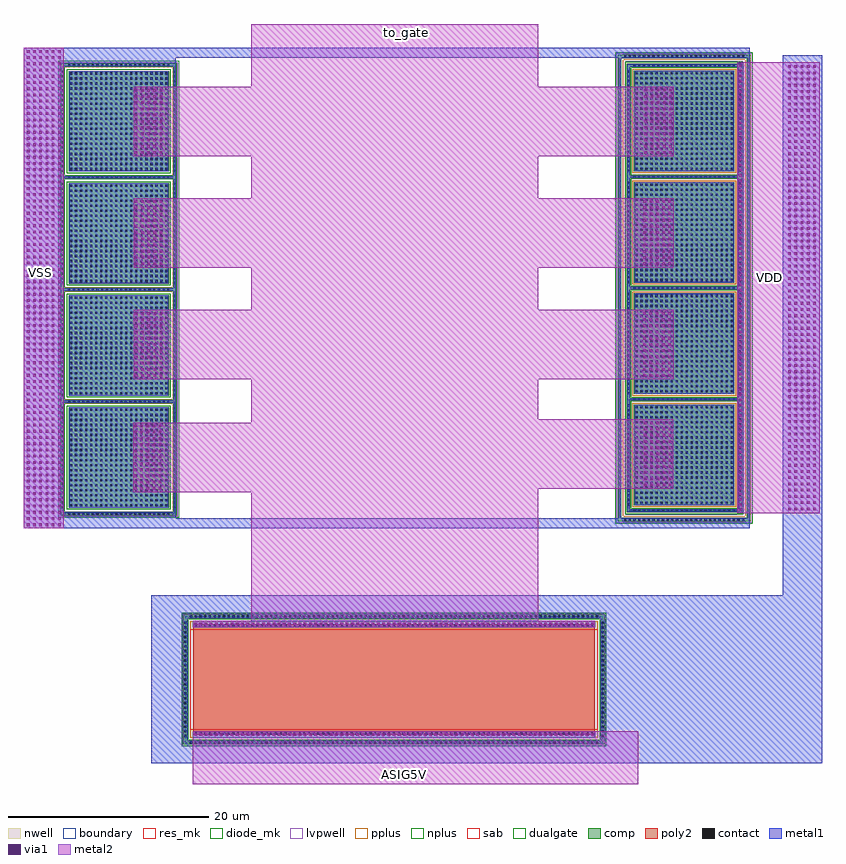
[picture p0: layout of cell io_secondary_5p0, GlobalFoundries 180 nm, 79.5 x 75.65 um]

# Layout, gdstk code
from math import pi, radians
import gdstk
lib = gdstk.Library(unit=1e-6, precision=5e-09)
def R(c, l, rs):  # rectangles x0, y0, x1, y1
    for r in rs: c.add(gdstk.rectangle(r[:2], r[2:], *l))
def A(c, l, x, y, w, h, nx, ny, dx, dy):  # array of equal rectangles
    R(c, l, [(x+i*dx, y+j*dy, x+i*dx+w, y+j*dy+h) for i in range(nx) for j in range(ny)])
boundary = (0, 0)
nwell = (21, 0)
comp = (22, 0)
poly2 = (30, 0)
pplus = (31, 0)
nplus = (32, 0)
contact = (33, 0)
metal1 = (34, 0)
via1 = (35, 0)
metal2 = (36, 0)
sab = (49, 0)
dualgate = (55, 0)
res_mk = (110, 5)
diode_mk = (115, 5)
lvpwell = (204, 0)

via_dev_2_1_1 = lib.new_cell('via_dev$2$1$1')
R(via_dev_2_1_1, metal1, [(-8.04,48.48,-4.04,96.33)])
A(via_dev_2_1_1, via1, -7.72, 48.715, 0.26, 0.26, 6, 77, 0.62, 0.62)
R(via_dev_2_1_1, metal2, [(-8.04,48.48,-4.04,96.33)])

ppolyf_u_9h3lnu_1_1 = lib.new_cell('ppolyf_u_9H3LNU$1$1')
R(ppolyf_u_9h3lnu_1_1, boundary, [(-2.87,-54.84,9.71,-13.28)])
R(ppolyf_u_9h3lnu_1_1, nwell, [(-3.17,-55.14,10.01,-12.98)])
R(ppolyf_u_9h3lnu_1_1, comp, [(-3.05,-55.02,-2.69,-13.1), (-2.69,-55.02,9.53,-54.66), (9.53,-55.02,9.89,-13.1), (-2.69,-13.46,9.53,-13.1)])
R(ppolyf_u_9h3lnu_1_1, poly2, [(-2.09,-54.06,8.93,-14.06)])
R(ppolyf_u_9h3lnu_1_1, pplus, [(-2.39,-54.36,9.23,-13.76)])
R(ppolyf_u_9h3lnu_1_1, nplus, [(-3.21,-55.18,-2.58,-12.94), (-2.58,-55.18,9.42,-54.55), (9.42,-55.18,10.05,-12.94), (-2.58,-13.57,9.42,-12.94)])
A(ppolyf_u_9h3lnu_1_1, contact, -2.33, -54.95, 0.22, 0.22, 25, 2, 0.47, 41.56)
A(ppolyf_u_9h3lnu_1_1, contact, -2.98, -54.38, 0.22, 0.22, 1, 87, 0, 0.47)
A(ppolyf_u_9h3lnu_1_1, contact, 9.6, -54.38, 0.22, 0.22, 1, 87, 0, 0.47)
A(ppolyf_u_9h3lnu_1_1, contact, -2.02, -53.91, 0.22, 0.22, 1, 85, 0, 0.47)
A(ppolyf_u_9h3lnu_1_1, contact, 8.64, -53.91, 0.22, 0.22, 1, 85, 0, 0.47)
R(ppolyf_u_9h3lnu_1_1, metal1, [(-2.985,-54.955,-2.755,-13.165), (-2.755,-54.955,9.595,-54.725), (9.595,-54.955,9.825,-13.165), (-2.025,-54.05,-1.795,-14.07), (8.635,-54.05,8.865,-14.07), (-2.755,-13.395,9.595,-13.165)])
R(ppolyf_u_9h3lnu_1_1, sab, [(-1.58,-54.34,8.42,-13.78)])
R(ppolyf_u_9h3lnu_1_1, res_mk, [(-1.58,-54.06,8.42,-14.06)])

diode_pd2nw_06v0_5dg9hc_ = lib.new_cell('diode_pd2nw_06v0_5DG9HC$1$1')
R(diode_pd2nw_06v0_5dg9hc_, boundary, [(28.24,-15.5,39.32,-4.42)])
R(diode_pd2nw_06v0_5dg9hc_, nwell, [(27.9,-15.84,39.66,29.16)])
A(diode_pd2nw_06v0_5dg9hc_, comp, 28.42, -15.68, 10.72, 0.36, 1, 5, 0, 11.08)
A(diode_pd2nw_06v0_5dg9hc_, comp, 28.78, -14.96, 10, 10, 1, 4, 0, 11.08)
R(diode_pd2nw_06v0_5dg9hc_, comp, [(27.18,-16.56,27.54,29.88), (27.54,-16.56,40.02,-16.2), (40.02,-16.56,40.38,29.88), (28.06,-15.68,28.42,29), (39.14,-15.68,39.5,29), (27.54,29.52,40.02,29.88)])
A(diode_pd2nw_06v0_5dg9hc_, pplus, 28.62, -15.12, 10.32, 10.32, 1, 4, 0, 11.08)
R(diode_pd2nw_06v0_5dg9hc_, pplus, [(27.665,-16.59,27.7,29.91), (27.7,-16.59,39.86,-16.04), (39.86,-16.59,39.895,29.91), (27.16,-16.58,27.665,29.9), (39.895,-16.58,40.4,29.9), (27.7,29.36,39.86,29.91)])
A(diode_pd2nw_06v0_5dg9hc_, nplus, 28.49, -4.63, 10.58, 0.42, 1, 3, 0, 11.08)
R(diode_pd2nw_06v0_5dg9hc_, nplus, [(27.9,-15.84,28.49,29.16), (28.49,-15.84,39.07,-15.25), (39.07,-15.84,39.66,29.16), (28.49,28.57,39.07,29.16)])
A(diode_pd2nw_06v0_5dg9hc_, contact, 27.795, -16.49, 0.22, 0.22, 26, 2, 0.47, 46.08)
A(diode_pd2nw_06v0_5dg9hc_, contact, 28.735, -15.61, 0.22, 0.22, 22, 5, 0.47, 11.08)
A(diode_pd2nw_06v0_5dg9hc_, contact, 28.13, -15.005, 0.22, 0.22, 1, 22, 0, 0.47)
A(diode_pd2nw_06v0_5dg9hc_, contact, 39.21, -15.005, 0.22, 0.22, 1, 22, 0, 0.47)
A(diode_pd2nw_06v0_5dg9hc_, contact, 28.92, -14.82, 0.22, 0.22, 20, 20, 0.5, 0.5)
A(diode_pd2nw_06v0_5dg9hc_, contact, 28.13, -3.925, 0.22, 0.22, 1, 22, 0, 0.47)
A(diode_pd2nw_06v0_5dg9hc_, contact, 39.21, -3.925, 0.22, 0.22, 1, 22, 0, 0.47)
A(diode_pd2nw_06v0_5dg9hc_, contact, 28.92, -3.74, 0.22, 0.22, 20, 20, 0.5, 0.5)
A(diode_pd2nw_06v0_5dg9hc_, contact, 28.13, 7.155, 0.22, 0.22, 1, 22, 0, 0.47)
A(diode_pd2nw_06v0_5dg9hc_, contact, 39.21, 7.155, 0.22, 0.22, 1, 22, 0, 0.47)
A(diode_pd2nw_06v0_5dg9hc_, contact, 28.92, 7.34, 0.22, 0.22, 20, 20, 0.5, 0.5)
A(diode_pd2nw_06v0_5dg9hc_, contact, 28.13, 18.235, 0.22, 0.22, 1, 22, 0, 0.47)
A(diode_pd2nw_06v0_5dg9hc_, contact, 39.21, 18.235, 0.22, 0.22, 1, 22, 0, 0.47)
A(diode_pd2nw_06v0_5dg9hc_, contact, 28.92, 18.42, 0.22, 0.22, 20, 20, 0.5, 0.5)
A(diode_pd2nw_06v0_5dg9hc_, metal1, 28.355, -15.615, 10.85, 0.23, 1, 5, 0, 11.08)
A(diode_pd2nw_06v0_5dg9hc_, metal1, 28.845, -14.95, 9.87, 9.98, 1, 4, 0, 11.08)
R(diode_pd2nw_06v0_5dg9hc_, metal1, [(27.245,-16.495,27.475,29.815), (27.475,-16.495,40.085,-16.265), (40.085,-16.495,40.315,29.815), (28.125,-15.615,28.355,28.935), (39.205,-15.615,39.435,28.935), (27.475,29.585,40.085,29.815)])
R(diode_pd2nw_06v0_5dg9hc_, dualgate, [(26.94,-16.8,40.62,30.12)])
A(diode_pd2nw_06v0_5dg9hc_, diode_mk, 28.78, -14.96, 10, 10, 1, 4, 0, 11.08)
R(diode_pd2nw_06v0_5dg9hc_, lvpwell, [(27.02,-16.72,27.9,30.04), (27.9,-16.72,39.66,-15.84), (39.66,-16.72,40.54,30.04), (27.9,29.16,39.66,30.04)])

diode_nd2ps_06v0_mv3sz3_ = lib.new_cell('diode_nd2ps_06v0_MV3SZ3$1$1')
R(diode_nd2ps_06v0_mv3sz3_, boundary, [(-28.22,40.48,-17.06,51.64)])
A(diode_nd2ps_06v0_mv3sz3_, comp, -28.04, 40.3, 10.8, 0.36, 1, 5, 0, 11.16)
A(diode_nd2ps_06v0_mv3sz3_, comp, -27.64, 41.06, 10, 10, 1, 4, 0, 11.16)
R(diode_nd2ps_06v0_mv3sz3_, comp, [(-28.4,40.3,-28.04,85.3), (-17.24,40.3,-16.88,85.3)])
A(diode_nd2ps_06v0_mv3sz3_, pplus, -28.43, 40.785, 0.01, 10.55, 1, 4, 0, 11.16)
A(diode_nd2ps_06v0_mv3sz3_, pplus, -16.86, 40.785, 0.01, 10.55, 1, 4, 0, 11.16)
A(diode_nd2ps_06v0_mv3sz3_, pplus, -28.01, 51.43, 10.74, 0.42, 1, 3, 0, 11.16)
R(diode_nd2ps_06v0_mv3sz3_, pplus, [(-27.915,40.27,-17.365,40.69), (-28.42,40.28,-28.01,85.32), (-28.01,40.28,-27.915,40.69), (-17.365,40.28,-17.27,40.69), (-17.27,40.28,-16.86,85.32), (-28.01,84.91,-27.915,85.32), (-27.915,84.91,-17.365,85.33), (-17.365,84.91,-17.27,85.32)])
A(diode_nd2ps_06v0_mv3sz3_, nplus, -27.8, 40.9, 10.32, 10.32, 1, 4, 0, 11.16)
A(diode_nd2ps_06v0_mv3sz3_, contact, -27.685, 40.37, 0.22, 0.22, 22, 5, 0.47, 11.16)
A(diode_nd2ps_06v0_mv3sz3_, contact, -28.33, 41.015, 0.22, 0.22, 1, 22, 0, 0.47)
A(diode_nd2ps_06v0_mv3sz3_, contact, -17.17, 41.015, 0.22, 0.22, 1, 22, 0, 0.47)
A(diode_nd2ps_06v0_mv3sz3_, contact, -27.5, 41.2, 0.22, 0.22, 20, 20, 0.5, 0.5)
A(diode_nd2ps_06v0_mv3sz3_, contact, -28.33, 52.175, 0.22, 0.22, 1, 22, 0, 0.47)
A(diode_nd2ps_06v0_mv3sz3_, contact, -17.17, 52.175, 0.22, 0.22, 1, 22, 0, 0.47)
A(diode_nd2ps_06v0_mv3sz3_, contact, -27.5, 52.36, 0.22, 0.22, 20, 20, 0.5, 0.5)
A(diode_nd2ps_06v0_mv3sz3_, contact, -28.33, 63.335, 0.22, 0.22, 1, 22, 0, 0.47)
A(diode_nd2ps_06v0_mv3sz3_, contact, -17.17, 63.335, 0.22, 0.22, 1, 22, 0, 0.47)
A(diode_nd2ps_06v0_mv3sz3_, contact, -27.5, 63.52, 0.22, 0.22, 20, 20, 0.5, 0.5)
A(diode_nd2ps_06v0_mv3sz3_, contact, -28.33, 74.495, 0.22, 0.22, 1, 22, 0, 0.47)
A(diode_nd2ps_06v0_mv3sz3_, contact, -17.17, 74.495, 0.22, 0.22, 1, 22, 0, 0.47)
A(diode_nd2ps_06v0_mv3sz3_, contact, -27.5, 74.68, 0.22, 0.22, 20, 20, 0.5, 0.5)
A(diode_nd2ps_06v0_mv3sz3_, metal1, -28.105, 40.365, 10.93, 0.23, 1, 5, 0, 11.16)
A(diode_nd2ps_06v0_mv3sz3_, metal1, -27.575, 41.07, 9.87, 9.98, 1, 4, 0, 11.16)
R(diode_nd2ps_06v0_mv3sz3_, metal1, [(-28.335,40.365,-28.105,85.235), (-17.175,40.365,-16.945,85.235)])
R(diode_nd2ps_06v0_mv3sz3_, dualgate, [(-28.64,40.06,-16.64,85.54)])
A(diode_nd2ps_06v0_mv3sz3_, diode_mk, -27.64, 41.06, 10, 10, 1, 4, 0, 11.16)
R(diode_nd2ps_06v0_mv3sz3_, lvpwell, [(-28.52,40.18,-16.76,85.42)])

io_secondary_5p0 = lib.new_cell('io_secondary_5p0')
R(io_secondary_5p0, metal1, [(-29,2.05,-25.35,18.8), (-25.35,2.05,15.75,4.3), (15.75,2.05,18.4,18.8), (18.4,2.05,33.85,18.8), (33.85,2.05,37.81,72.525), (-24.85,4.6,15.2,5.25), (-24.85,15.6,15.2,16.25), (-25.35,16.5,15.75,18.8), (-41.685,25.445,-37.685,73.295), (29.45,26.95,29.9,71.75), (-30.8,29.135,-27.88,35.94), (19.965,29.445,22.885,36.25), (-30.7,40.345,-27.78,47.15), (19.895,40.35,22.815,47.155), (-30.715,51.47,-27.795,58.275), (19.915,51.475,22.835,58.28), (-30.715,62.555,-27.795,69.36), (20.01,62.56,22.93,69.365), (17.745,72.2,17.8,72.295)])
A(io_secondary_5p0, via1, -24.715, 4.795, 0.26, 0.26, 77, 2, 0.52, 11)
A(io_secondary_5p0, via1, 29.545, 27.18, 0.26, 0.26, 1, 86, 0, 0.52)
A(io_secondary_5p0, via1, 34.415, 27.26, 0.26, 0.26, 5, 72, 0.62, 0.62)
A(io_secondary_5p0, via1, -30.71, 29.31, 0.26, 0.26, 5, 11, 0.62, 0.62)
A(io_secondary_5p0, via1, 20.055, 29.62, 0.26, 0.26, 5, 11, 0.62, 0.62)
A(io_secondary_5p0, via1, -30.61, 40.52, 0.26, 0.26, 5, 11, 0.62, 0.62)
A(io_secondary_5p0, via1, 19.985, 40.525, 0.26, 0.26, 5, 11, 0.62, 0.62)
A(io_secondary_5p0, via1, -30.625, 51.645, 0.26, 0.26, 5, 11, 0.62, 0.62)
A(io_secondary_5p0, via1, 20.005, 51.65, 0.26, 0.26, 5, 11, 0.62, 0.62)
A(io_secondary_5p0, via1, -30.625, 62.73, 0.26, 0.26, 5, 11, 0.62, 0.62)
A(io_secondary_5p0, via1, 20.1, 62.735, 0.26, 0.26, 5, 11, 0.62, 0.62)
A(io_secondary_5p0, metal2, -30.75, 40.3, 11.7, 6.9, 1, 3, 0, 11.1)
A(io_secondary_5p0, metal2, 9.55, 40.3, 13.45, 6.9, 1, 3, 0, 11.1)
R(io_secondary_5p0, metal2, [(-24.85,0,19.47,5.25), (-24.85,15.6,-19.05,16.25), (-19.05,15.6,9.55,75.65), (9.55,15.6,15.2,16.25), (-41.685,25.445,-37.685,73.295), (29.35,26.95,36.95,71.85), (34.21,26.95,37.56,71.85), (-30.8,29.04,-19.05,35.94), (9.55,29.4,22.95,36.3)])
io_secondary_5p0.add(gdstk.FlexPath([(-26.525,26.525),(-37.915,26.525)], 1, ends="flush", simple_path=True, layer=34, datatype=0))  # metal1
io_secondary_5p0.add(gdstk.FlexPath([(30.595,25.945),(-37.915,25.945)], 1, ends="flush", simple_path=True, layer=34, datatype=0))  # metal1
io_secondary_5p0.add(gdstk.FlexPath([(-26.525,71.935),(-37.915,71.935)], 1, ends="flush", simple_path=True, layer=34, datatype=0))  # metal1
io_secondary_5p0.add(gdstk.FlexPath([(30.595,72.795),(-37.915,72.795)], 1, ends="flush", simple_path=True, layer=34, datatype=0))  # metal1
io_secondary_5p0.add(gdstk.Reference(via_dev_2_1_1, (-33.645,-23.035)))
io_secondary_5p0.add(gdstk.Reference(ppolyf_u_9h3lnu_1_1, (29.24,13.83), rotation=3*pi/2))
io_secondary_5p0.add(gdstk.Reference(diode_pd2nw_06v0_5dg9hc_, (-9.72,42.71)))
io_secondary_5p0.add(gdstk.Reference(diode_nd2ps_06v0_mv3sz3_, (-9.58,-13.57)))
io_secondary_5p0.add(gdstk.Label('VDD', (32.6,50.43), layer=36, texttype=10))
io_secondary_5p0.add(gdstk.Label('VSS', (-39.98,50.91), layer=36, texttype=10))
io_secondary_5p0.add(gdstk.Label('ASIG5V', (-3.77,0.975), layer=36, texttype=10))
io_secondary_5p0.add(gdstk.Label('to_gate', (-3.545,74.805), layer=36, texttype=10))

lib.write_gds('io_secondary_5p0.gds')
